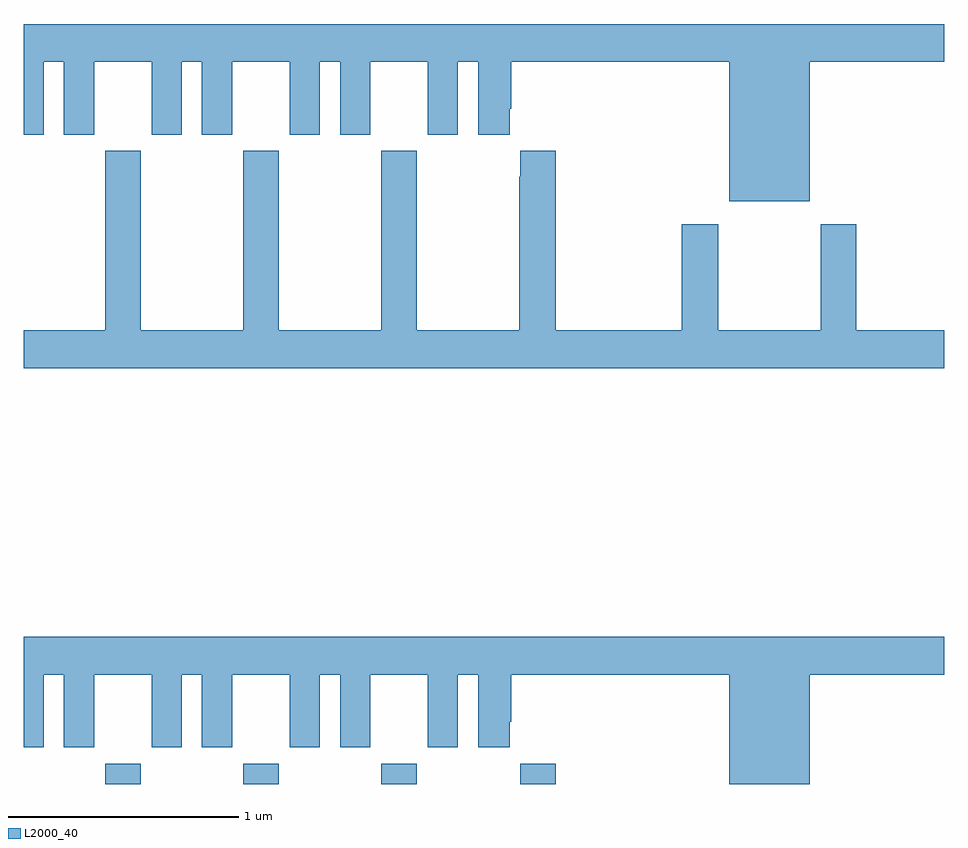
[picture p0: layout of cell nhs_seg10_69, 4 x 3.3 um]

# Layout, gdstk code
import gdstk
lib = gdstk.Library(unit=1e-6, precision=1e-09)
def R(c, l, rs):  # rectangles x0, y0, x1, y1
    for r in rs: c.add(gdstk.rectangle(r[:2], r[2:], *l))
def A(c, l, x, y, w, h, nx, ny, dx, dy):  # array of equal rectangles
    R(c, l, [(x+i*dx, y+j*dy, x+i*dx+w, y+j*dy+h) for i in range(nx) for j in range(ny)])
def P(c, l, *ps):  # polygons
    for p in ps: c.add(gdstk.Polygon(p, *l))
L2000_40 = (2000, 40)

nhs_seg10_69 = lib.new_cell('nhs_seg10_69')
A(nhs_seg10_69, L2000_40, 113.353, 1306.5, 0.155, 0.088, 3, 1, 0.6, 0)
R(nhs_seg10_69, L2000_40, [(115.157,1306.5,115.313,1306.588)])
P(nhs_seg10_69, L2000_40, [(116.416,1309.64),(117,1309.64),(117,1309.804),(113,1309.804),(113,1309.323),(113.086,1309.323),(113.086,1309.64),(113.174,1309.64),(113.174,1309.323),(113.305,1309.323),(113.305,1309.64),(113.555,1309.64),(113.555,1309.323),(113.686,1309.323),(113.686,1309.64),(113.774,1309.64),(113.774,1309.323),(113.905,1309.323),(113.905,1309.64),(114.155,1309.64),(114.155,1309.323),(114.286,1309.323),(114.286,1309.64),(114.374,1309.64),(114.374,1309.323),(114.505,1309.323),(114.505,1309.64),(114.755,1309.64),(114.755,1309.323),(114.886,1309.323),(114.886,1309.64),(114.974,1309.64),(114.974,1309.323),(115.111,1309.323),(115.111,1309.435),(115.118,1309.435),(115.118,1309.64),(116.066,1309.64),(116.066,1309.034),(116.416,1309.034)],
  [(117,1308.472),(116.619,1308.472),(116.619,1308.934),(116.464,1308.934),(116.464,1308.472),(116.019,1308.472),(116.019,1308.934),(115.859,1308.934),(115.859,1308.472),(115.313,1308.472),(115.313,1309.252),(115.157,1309.252),(115.157,1309.139),(115.153,1309.139),(115.153,1308.472),(114.708,1308.472),(114.708,1309.252),(114.553,1309.252),(114.553,1308.472),(114.108,1308.472),(114.108,1309.252),(113.953,1309.252),(113.953,1308.472),(113.508,1308.472),(113.508,1309.252),(113.353,1309.252),(113.353,1308.472),(113,1308.472),(113,1308.308),(117,1308.308)],
  [(116.416,1306.976),(117,1306.976),(117,1307.14),(113,1307.14),(113,1306.659),(113.086,1306.659),(113.086,1306.976),(113.174,1306.976),(113.174,1306.659),(113.305,1306.659),(113.305,1306.976),(113.555,1306.976),(113.555,1306.659),(113.686,1306.659),(113.686,1306.976),(113.774,1306.976),(113.774,1306.659),(113.905,1306.659),(113.905,1306.976),(114.155,1306.976),(114.155,1306.659),(114.286,1306.659),(114.286,1306.976),(114.374,1306.976),(114.374,1306.659),(114.505,1306.659),(114.505,1306.976),(114.755,1306.976),(114.755,1306.659),(114.886,1306.659),(114.886,1306.976),(114.974,1306.976),(114.974,1306.659),(115.111,1306.659),(115.111,1306.771),(115.118,1306.771),(115.118,1306.976),(116.066,1306.976),(116.066,1306.5),(116.416,1306.5)])

lib.write_gds('nhs_seg10_69.gds')
